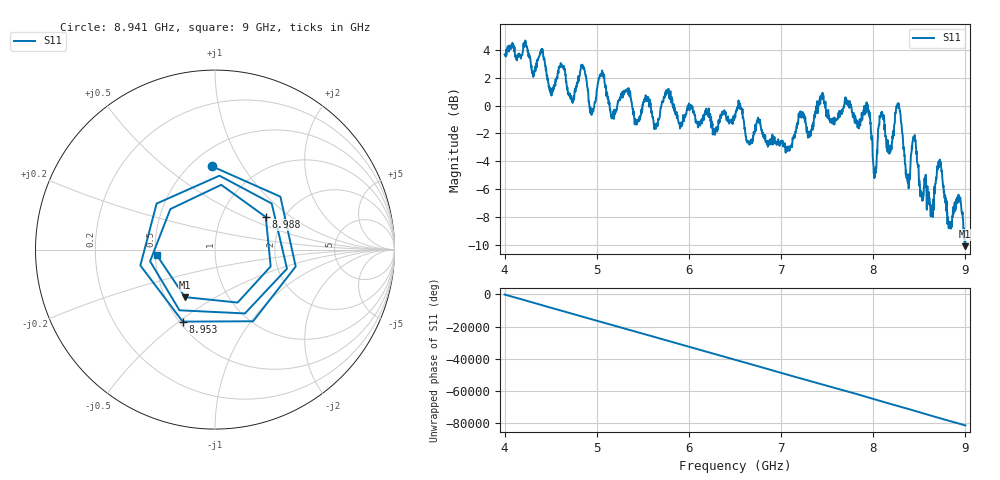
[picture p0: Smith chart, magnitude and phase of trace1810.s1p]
! Created with skrf 1.8.0 (http://scikit-rf.org).
# Hz S RI R 50.0
!freq ReS11 ImS11
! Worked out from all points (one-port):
!   1601 points, 4 GHz to 9 GHz, reference 50 ohm
!   lowest |S11| = -10.1 dB at 8.997 GHz (marker M1), VSWR 1.91, Z = 31.5 - j18.5 ohm
!   |S11| at or under -10 dB: 8.995799 GHz to 8.99781 GHz (2.011 MHz wide, 0.0224 % of centre)
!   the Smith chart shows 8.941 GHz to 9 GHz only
!   S11 on the Smith chart (normalised r, x): 8.941 GHz: 0.63, +0.74; 8.953 GHz: 0.52, -0.52; 8.988 GHz: 1.62, +0.66; 9 GHz: 0.51, -0.04
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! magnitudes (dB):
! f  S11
! 4 GHz  3.7
! 4.506 GHz  1.1
! 4.625 GHz  2.7
! 4.731 GHz  0.4
! 4.853 GHz  2.8
! 4.944 GHz  -0.7
! 5.056 GHz  2.4
! 5.162 GHz  -0.9
! 5.25 GHz  0.5
! 5.875 GHz  -0.7
! 6.5 GHz  -0.7
! 7.125 GHz  -2.3
! 7.75 GHz  0.1
! 7.941 GHz  0.0
! 8.019 GHz  -5.1
! 8.081 GHz  -0.7
! 8.178 GHz  -3.2
! 8.272 GHz  0.0
! 8.375 GHz  -5.5
! 8.444 GHz  -2.3
! 8.631 GHz  -7.3
! 8.716 GHz  -4.1
! 8.825 GHz  -8.6
! 8.941 GHz  -6.7
! 8.953 GHz  -7.1
! 8.988 GHz  -9.5
! 8.997 GHz  -10.1
! 9 GHz  -9.8
